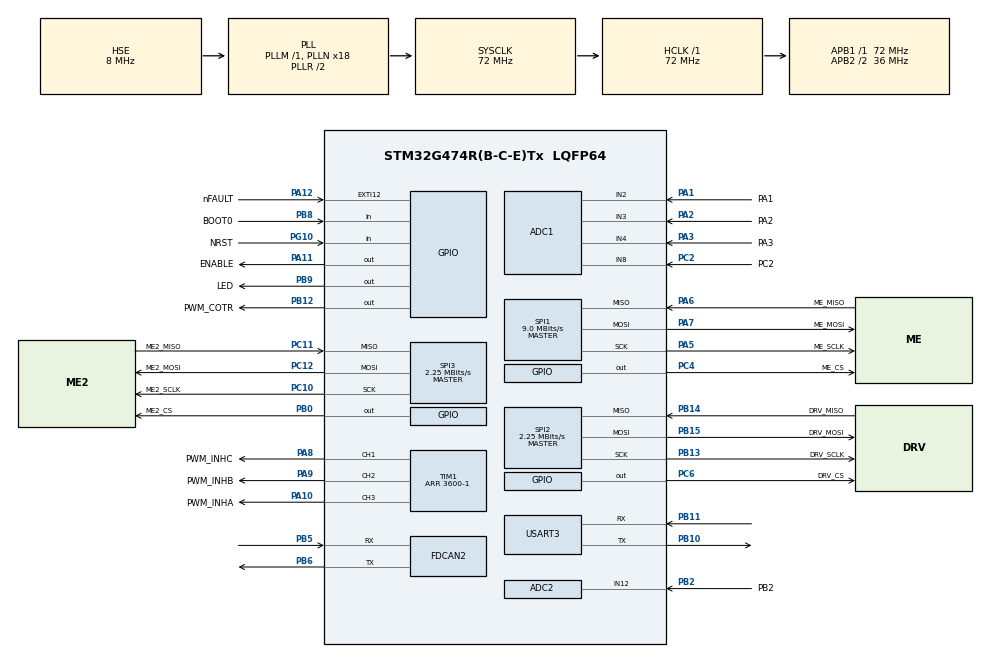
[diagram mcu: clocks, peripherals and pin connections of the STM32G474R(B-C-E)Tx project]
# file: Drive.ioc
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ADC1.Channel-11\#ChannelRegularConversion=ADC_CHANNEL_8
ADC1.Channel-12\#ChannelRegularConversion=ADC_CHANNEL_4
ADC1.Channel-7\#ChannelRegularConversion=ADC_CHANNEL_2
ADC1.Channel-8\#ChannelRegularConversion=ADC_CHANNEL_3
ADC1.ContinuousConvMode=DISABLE
ADC1.DMAContinuousRequests=ENABLE
ADC1.EnableInjectedConversion=DISABLE
ADC1.EnableRegularConversion=ENABLE
ADC1.ExternalTrigConv=ADC_EXTERNALTRIG_T1_TRGO
ADC1.Mode=ADC_MODE_INDEPENDENT
ADC1.NbrOfConversion=4
ADC1.NbrOfConversionFlag=1
ADC1.OffsetNumber-11\#ChannelRegularConversion=ADC_OFFSET_NONE
ADC1.OffsetNumber-12\#ChannelRegularConversion=ADC_OFFSET_NONE
ADC1.OffsetNumber-7\#ChannelRegularConversion=ADC_OFFSET_NONE
ADC1.OffsetNumber-8\#ChannelRegularConversion=ADC_OFFSET_NONE
ADC1.Overrun=ADC_OVR_DATA_OVERWRITTEN
ADC1.OversamplingMode=DISABLE
ADC1.Rank-11\#ChannelRegularConversion=3
ADC1.Rank-12\#ChannelRegularConversion=4
ADC1.Rank-7\#ChannelRegularConversion=1
ADC1.Rank-8\#ChannelRegularConversion=2
ADC1.SamplingTime-11\#ChannelRegularConversion=ADC_SAMPLETIME_24CYCLES_5
ADC1.SamplingTime-12\#ChannelRegularConversion=ADC_SAMPLETIME_24CYCLES_5
ADC1.SamplingTime-7\#ChannelRegularConversion=ADC_SAMPLETIME_24CYCLES_5
ADC1.SamplingTime-8\#ChannelRegularConversion=ADC_SAMPLETIME_24CYCLES_5
ADC1.master=1
ADC2.Channel-0\#ChannelRegularConversion=ADC_CHANNEL_12
ADC2.DMAContinuousRequests=ENABLE
ADC2.ExternalTrigConv=ADC_EXTERNALTRIG_T1_TRGO
ADC2.ExternalTrigConvEdge=ADC_EXTERNALTRIGCONVEDGE_RISING
ADC2.NbrOfConversion=1
ADC2.NbrOfConversionFlag=1
ADC2.OffsetNumber-0\#ChannelRegularConversion=ADC_OFFSET_NONE
ADC2.Overrun=ADC_OVR_DATA_OVERWRITTEN
ADC2.OversamplingMode=DISABLE
ADC2.Rank-0\#ChannelRegularConversion=1
ADC2.SamplingTime-0\#ChannelRegularConversion=ADC_SAMPLETIME_24CYCLES_5
Dma.ADC1.0.Direction=DMA_PERIPH_TO_MEMORY
Dma.ADC1.0.EventEnable=DISABLE
Dma.ADC1.0.Instance=DMA1_Channel1
Dma.ADC1.0.MemDataAlignment=DMA_MDATAALIGN_HALFWORD
Dma.ADC1.0.MemInc=DMA_MINC_ENABLE
Dma.ADC1.0.Mode=DMA_CIRCULAR
Dma.ADC1.0.PeriphDataAlignment=DMA_PDATAALIGN_HALFWORD
Dma.ADC1.0.PeriphInc=DMA_PINC_DISABLE
Dma.ADC1.0.Polarity=HAL_DMAMUX_REQ_GEN_RISING
Dma.ADC1.0.Priority=DMA_PRIORITY_LOW
Dma.ADC1.0.RequestNumber=1
Dma.ADC1.0.SignalID=NONE
Dma.ADC1.0.SyncEnable=DISABLE
Dma.ADC1.0.SyncPolarity=HAL_DMAMUX_SYNC_NO_EVENT
Dma.ADC1.0.SyncRequestNumber=1
Dma.ADC1.0.SyncSignalID=NONE
Dma.ADC2.1.Direction=DMA_PERIPH_TO_MEMORY
Dma.ADC2.1.EventEnable=DISABLE
Dma.ADC2.1.Instance=DMA1_Channel2
Dma.ADC2.1.MemDataAlignment=DMA_MDATAALIGN_HALFWORD
Dma.ADC2.1.MemInc=DMA_MINC_ENABLE
Dma.ADC2.1.Mode=DMA_CIRCULAR
Dma.ADC2.1.PeriphDataAlignment=DMA_PDATAALIGN_HALFWORD
Dma.ADC2.1.PeriphInc=DMA_PINC_DISABLE
Dma.ADC2.1.Polarity=HAL_DMAMUX_REQ_GEN_RISING
Dma.ADC2.1.Priority=DMA_PRIORITY_LOW
Dma.ADC2.1.RequestNumber=1
Dma.ADC2.1.SignalID=NONE
Dma.ADC2.1.SyncEnable=DISABLE
Dma.ADC2.1.SyncPolarity=HAL_DMAMUX_SYNC_NO_EVENT
Dma.ADC2.1.SyncRequestNumber=1
Dma.ADC2.1.SyncSignalID=NONE
Dma.Request0=ADC1
Dma.Request1=ADC2
Dma.Request2=USART3_TX
Dma.Request3=USART3_RX
Dma.USART3_RX.3.Direction=DMA_PERIPH_TO_MEMORY
Dma.USART3_RX.3.EventEnable=DISABLE
Dma.USART3_RX.3.Instance=DMA1_Channel4
Dma.USART3_RX.3.MemDataAlignment=DMA_MDATAALIGN_BYTE
Dma.USART3_RX.3.MemInc=DMA_MINC_ENABLE
Dma.USART3_RX.3.Mode=DMA_CIRCULAR
Dma.USART3_RX.3.PeriphDataAlignment=DMA_PDATAALIGN_BYTE
Dma.USART3_RX.3.PeriphInc=DMA_PINC_DISABLE
Dma.USART3_RX.3.Polarity=HAL_DMAMUX_REQ_GEN_RISING
Dma.USART3_RX.3.Priority=DMA_PRIORITY_LOW
Dma.USART3_RX.3.RequestNumber=1
Dma.USART3_RX.3.SignalID=NONE
Dma.USART3_RX.3.SyncEnable=DISABLE
Dma.USART3_RX.3.SyncPolarity=HAL_DMAMUX_SYNC_NO_EVENT
Dma.USART3_RX.3.SyncRequestNumber=1
Dma.USART3_RX.3.SyncSignalID=NONE
Dma.USART3_TX.2.Direction=DMA_MEMORY_TO_PERIPH
Dma.USART3_TX.2.EventEnable=DISABLE
Dma.USART3_TX.2.Instance=DMA1_Channel3
Dma.USART3_TX.2.MemDataAlignment=DMA_MDATAALIGN_BYTE
Dma.USART3_TX.2.MemInc=DMA_MINC_ENABLE
Dma.USART3_TX.2.Mode=DMA_NORMAL
Dma.USART3_TX.2.PeriphDataAlignment=DMA_PDATAALIGN_BYTE
Dma.USART3_TX.2.PeriphInc=DMA_PINC_DISABLE
Dma.USART3_TX.2.Polarity=HAL_DMAMUX_REQ_GEN_RISING
Dma.USART3_TX.2.Priority=DMA_PRIORITY_LOW
Dma.USART3_TX.2.RequestNumber=1
Dma.USART3_TX.2.SignalID=NONE
Dma.USART3_TX.2.SyncEnable=DISABLE
Dma.USART3_TX.2.SyncPolarity=HAL_DMAMUX_SYNC_NO_EVENT
Dma.USART3_TX.2.SyncRequestNumber=1
Dma.USART3_TX.2.SyncSignalID=NONE
FDCAN2.CalculateBaudRateNominal=1000000
FDCAN2.CalculateTimeBitNominal=1000
FDCAN2.CalculateTimeQuantumNominal=125.0
FDCAN2.NominalPrescaler=9
FDCAN2.NominalTimeSeg1=5
FDCAN2.NominalTimeSeg2=2
FDCAN2.StdFiltersNbr=1
IWDG.Prescaler=IWDG_PRESCALER_256
IWDG.Reload=125
IWDG.Window=4095
Mcu.Family=STM32G4
Mcu.Name=STM32G474R(B-C-E)Tx
Mcu.Package=LQFP64
NVIC.DMA1_Channel1_IRQn=true\:3\:0\:true\:false\:true\:false\:true\:true
NVIC.DMA1_Channel2_IRQn=true\:3\:0\:true\:false\:true\:false\:true\:true
NVIC.DMA1_Channel3_IRQn=true\:3\:0\:true\:false\:true\:false\:true\:true
NVIC.DMA1_Channel4_IRQn=true\:3\:0\:true\:false\:true\:false\:true\:true
NVIC.EXTI15_10_IRQn=true\:0\:0\:true\:false\:true\:true\:true\:true
NVIC.FDCAN2_IT0_IRQn=true\:3\:0\:true\:false\:true\:true\:true\:true
NVIC.FDCAN2_IT1_IRQn=true\:3\:0\:true\:false\:true\:true\:true\:true
NVIC.PriorityGroup=NVIC_PRIORITYGROUP_4
NVIC.TIM1_UP_TIM16_IRQn=true\:1\:0\:true\:false\:true\:true\:true\:true
NVIC.USART3_IRQn=true\:3\:0\:true\:false\:true\:true\:true\:true
PA1.GPIO_Label=PA1
PA1.Mode=IN2-Single-Ended
PA1.Signal=ADC1_IN2
PA10.GPIO_Label=PWM_INHA
PA10.Signal=S_TIM1_CH3
PA11.GPIO_Label=ENABLE
PA11.Signal=GPIO_Output
PA12.GPIO_Label=nFAULT
PA12.GPIO_ModeDefaultEXTI=GPIO_MODE_IT_FALLING
PA12.Signal=GPXTI12
PA13.Mode=Serial_Wire
PA13.Signal=SYS_JTMS-SWDIO
PA14.Mode=Serial_Wire
PA14.Signal=SYS_JTCK-SWCLK
PA2.GPIO_Label=PA2
PA2.Mode=IN3-Single-Ended
PA2.Signal=ADC1_IN3
PA3.GPIO_Label=PA3
PA3.Mode=IN4-Single-Ended
PA3.Signal=ADC1_IN4
PA5.GPIO_Label=ME_SCLK
PA5.GPIO_Speed=GPIO_SPEED_FREQ_VERY_HIGH
PA5.Mode=Full_Duplex_Master
PA5.Signal=SPI1_SCK
PA6.GPIO_Label=ME_MISO
PA6.GPIO_Speed=GPIO_SPEED_FREQ_VERY_HIGH
PA6.Mode=Full_Duplex_Master
PA6.Signal=SPI1_MISO
PA7.GPIO_Label=ME_MOSI
PA7.GPIO_Speed=GPIO_SPEED_FREQ_VERY_HIGH
PA7.Mode=Full_Duplex_Master
PA7.Signal=SPI1_MOSI
PA8.GPIO_Label=PWM_INHC
PA8.Signal=S_TIM1_CH1
PA9.GPIO_Label=PWM_INHB
PA9.Signal=S_TIM1_CH2
PB0.GPIO_Label=ME2_CS
PB0.GPIO_Speed=GPIO_SPEED_FREQ_VERY_HIGH
PB0.PinState=GPIO_PIN_SET
PB0.Signal=GPIO_Output
PB10.Mode=Asynchronous
PB10.Signal=USART3_TX
PB11.GPIO_PuPd=GPIO_PULLUP
PB11.Mode=Asynchronous
PB11.Signal=USART3_RX
PB12.GPIO_Label=PWM_COTR
PB12.Signal=GPIO_Output
PB13.GPIO_Label=DRV_SCLK
PB13.GPIO_Speed=GPIO_SPEED_FREQ_VERY_HIGH
PB13.Mode=Full_Duplex_Master
PB13.Signal=SPI2_SCK
PB14.GPIO_Label=DRV_MISO
PB14.GPIO_Speed=GPIO_SPEED_FREQ_VERY_HIGH
PB14.Mode=Full_Duplex_Master
PB14.Signal=SPI2_MISO
PB15.GPIO_Label=DRV_MOSI
PB15.GPIO_Speed=GPIO_SPEED_FREQ_VERY_HIGH
PB15.Mode=Full_Duplex_Master
PB15.Signal=SPI2_MOSI
PB2.GPIO_Label=PB2
PB2.Mode=IN12-Single-Ended
PB2.Signal=ADC2_IN12
PB5.GPIO_Speed=GPIO_SPEED_FREQ_HIGH
PB5.Mode=FDCAN_Activate
PB5.Signal=FDCAN2_RX
PB6.GPIO_Speed=GPIO_SPEED_FREQ_HIGH
PB6.Mode=FDCAN_Activate
PB6.Signal=FDCAN2_TX
PB8-BOOT0.GPIO_Label=BOOT0
PB8-BOOT0.Signal=GPIO_Input
PB9.GPIO_Label=LED
PB9.Signal=GPIO_Output
PC10.GPIO_Label=ME2_SCLK
PC10.Mode=Full_Duplex_Master
PC10.Signal=SPI3_SCK
PC11.GPIO_Label=ME2_MISO
PC11.Mode=Full_Duplex_Master
PC11.Signal=SPI3_MISO
PC12.GPIO_Label=ME2_MOSI
PC12.Mode=Full_Duplex_Master
PC12.Signal=SPI3_MOSI
PC2.GPIO_Label=PC2
PC2.Mode=IN8-Single-Ended
PC2.Signal=ADC1_IN8
PC4.GPIO_Label=ME_CS
PC4.GPIO_Speed=GPIO_SPEED_FREQ_VERY_HIGH
PC4.PinState=GPIO_PIN_SET
PC4.Signal=GPIO_Output
PC6.GPIO_Label=DRV_CS
PC6.GPIO_Speed=GPIO_SPEED_FREQ_VERY_HIGH
PC6.PinState=GPIO_PIN_SET
PC6.Signal=GPIO_Output
PF0-OSC_IN.Mode=HSE-External-Oscillator
PF0-OSC_IN.Signal=RCC_OSC_IN
PF1-OSC_OUT.Mode=HSE-External-Oscillator
PF1-OSC_OUT.Signal=RCC_OSC_OUT
PG10-NRST.GPIO_Label=NRST
PG10-NRST.Signal=GPIO_Input
ProjectManager.HeapSize=0x200
ProjectManager.StackSize=0x400
ProjectManager.TargetToolchain=MDK-ARM V5.32
RCC.ADC12Freq_Value=72000000
RCC.ADC345Freq_Value=72000000
RCC.AHBFreq_Value=72000000
RCC.APB1Freq_Value=72000000
RCC.APB1TimFreq_Value=72000000
RCC.APB2CLKDivider=RCC_HCLK_DIV2
RCC.APB2Freq_Value=36000000
RCC.APB2TimFreq_Value=72000000
RCC.CortexFreq_Value=72000000
RCC.EXTERNAL_CLOCK_VALUE=12288000
RCC.HCLKFreq_Value=72000000
RCC.HSE_VALUE=8000000
RCC.HSI48_VALUE=48000000
RCC.HSI_VALUE=16000000
RCC.LSE_VALUE=32768
RCC.PLLN=18
RCC.PLLSourceVirtual=RCC_PLLSOURCE_HSE
RCC.SYSCLKFreq_VALUE=72000000
RCC.SYSCLKSource=RCC_SYSCLKSOURCE_PLLCLK
RCC.USBFreq_Value=72000000
RCC.VCOOutputFreq_Value=144000000
SH.S_TIM1_CH1.0=TIM1_CH1,PWM Generation1 CH1
SH.S_TIM1_CH2.0=TIM1_CH2,PWM Generation2 CH2
SH.S_TIM1_CH3.0=TIM1_CH3,PWM Generation3 CH3
SPI1.BaudRatePrescaler=SPI_BAUDRATEPRESCALER_4
SPI1.CLKPhase=SPI_PHASE_2EDGE
SPI1.CLKPolarity=SPI_POLARITY_HIGH
SPI1.CalculateBaudRate=9.0 MBits/s
SPI1.DataSize=SPI_DATASIZE_16BIT
SPI1.Direction=SPI_DIRECTION_2LINES
SPI1.Mode=SPI_MODE_MASTER
SPI1.VirtualType=VM_MASTER
SPI2.BaudRatePrescaler=SPI_BAUDRATEPRESCALER_32
SPI2.CLKPhase=SPI_PHASE_2EDGE
SPI2.CLKPolarity=SPI_POLARITY_LOW
SPI2.CalculateBaudRate=2.25 MBits/s
SPI2.DataSize=SPI_DATASIZE_16BIT
SPI2.Direction=SPI_DIRECTION_2LINES
SPI2.Mode=SPI_MODE_MASTER
SPI2.VirtualType=VM_MASTER
SPI3.BaudRatePrescaler=SPI_BAUDRATEPRESCALER_32
SPI3.CLKPhase=SPI_PHASE_2EDGE
SPI3.CLKPolarity=SPI_POLARITY_HIGH
SPI3.CalculateBaudRate=2.25 MBits/s
SPI3.DataSize=SPI_DATASIZE_16BIT
SPI3.Direction=SPI_DIRECTION_2LINES
SPI3.Mode=SPI_MODE_MASTER
SPI3.VirtualType=VM_MASTER
STMicroelectronics.X-CUBE-ALGOBUILD.1.4.0.LibraryCcDSPOoLibraryJjDSPOoLibrary=true
TIM1.Channel-PWM\ Generation1\ CH1=TIM_CHANNEL_1
TIM1.Channel-PWM\ Generation2\ CH2=TIM_CHANNEL_2
TIM1.Channel-PWM\ Generation3\ CH3=TIM_CHANNEL_3
TIM1.CounterMode=TIM_COUNTERMODE_CENTERALIGNED1
TIM1.PeriodNoDither=3600-1
TIM1.PulseNoDither_1=1800
TIM1.PulseNoDither_2=1800
TIM1.PulseNoDither_3=1800
TIM1.RepetitionCounter=0
TIM1.TIM_MasterOutputTrigger=TIM_TRGO_UPDATE
USART3.VirtualMode-Asynchronous=VM_ASYNC
VP_IWDG_VS_IWDG.Mode=IWDG_Activate
VP_STMicroelectronics.X-CUBE-ALGOBUILD_VS_DSPOoLibraryJjLibrary_1.4.0_1.4.0.Mode=DSPOoLibraryJjLibrary
VP_SYS_VS_DBSignals.Mode=DisableDeadBatterySignals
VP_TIM1_VS_ClockSourceINT.Mode=Internal
board=custom

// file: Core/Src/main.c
/* USER CODE BEGIN Header */
/**
  ******************************************************************************
  * @file           : main.c
  * @brief          : Main program body
  ******************************************************************************
  * @attention
  *
  * Copyright (c) 2026 STMicroelectronics.
  * All rights reserved.
  *
  * This software is licensed under terms that can be found in the LICENSE file
  * in the root directory of this software component.
  * If no LICENSE file comes with this software, it is provided AS-IS.
  *
  ******************************************************************************
  */
/* USER CODE END Header */
#include "main.h"
#include "adc.h"
#include "dma.h"
#include "fdcan.h"
#include "iwdg.h"
#include "spi.h"
#include "tim.h"
#include "usart.h"
#include "gpio.h"

/* USER CODE BEGIN Includes */
#include "motor_control.h"
#include "foc.h"
#include "DRV8353.h"
#include "fdcan_app.h"
#include "uart_cmd.h"
#include "dwt_delay.h"
#include "kth7823.h"
#include "kth7823_2.h"
#include "dbg_monitor.h"
#include "Protect.h"

/* USER CODE END Includes */

/* USER CODE BEGIN PD */
// 注：上电自动执行启动序列已迁移至 motor_control.c（MotorControl_BootSequence）

float manual_voltage = 0.0f;	// 手动给定电压 (V)，默认 0，上电不转（安全）
float manual_speed = 0.0f;	  // 手动给定速度 (rad/s)，默认 0

volatile uint8_t fault_triggered = 0;	// 驱动故障标志
volatile uint8_t  fault_code = FAULT_CODE_NONE;  // 故障诊断码（锁存），主循环上报后清零
volatile uint16_t fault_mask = 0;                // 本次故障事件内触发过的所有保护位（bit=FAULT_CODE_n），与 fault_code 同步清零
volatile uint16_t fault_status1 = 0;             // 硬件故障 STATUS1 锁存（Disable 前读取）
volatile uint16_t fault_status2 = 0;             // 硬件故障 STATUS2 锁存

/* USER CODE END PD */

void SystemClock_Config(void);
/* USER CODE BEGIN PFP */
void HAL_TIM_PeriodElapsedCallback(TIM_HandleTypeDef *htim);

// 驱动故障回调函数
void HAL_GPIO_EXTI_Callback(uint16_t GPIO_Pin)
{
    if (GPIO_Pin == GPIO_PIN_12){
			// 先锁存硬件故障详情（此时 EN 尚未拉低、SPI 可用，读到的才是真实故障位）
			fault_status1 = DRV8353_ReadReg(DRV8353_REG_STATUS1);
			fault_status2 = DRV8353_ReadReg(DRV8353_REG_STATUS2);
			fault_code = FAULT_CODE_HARDWARE;
			// 立即停止 PWM 输出
			DRV8353_Disable();
      Protect_StopPWM();
			fault_triggered = 1;
		}
}

/* USER CODE END PFP */

/* USER CODE BEGIN 0 */

/* 上电自动执行启动序列已迁移至 motor_control.c（MotorControl_BootSequence） */

/* USER CODE END 0 */

int main(void)
{

  /* MCU Configuration--------------------------------------------------------*/

  /* Reset of all peripherals, Initializes the Flash interface and the Systick. */
  HAL_Init();

  /* Configure the system clock */
  SystemClock_Config();

  /* USER CODE BEGIN SysInit */
  DWT_Init();   // 使能内核 DWT  Cycle 计数器，供 DWT_Delay us/ms 使用

  /* USER CODE END SysInit */

  /* Initialize all configured peripherals */
  MX_GPIO_Init();
  MX_DMA_Init();
  MX_TIM1_Init();
  MX_ADC1_Init();
  MX_FDCAN2_Init();
  MX_SPI1_Init();
  MX_SPI2_Init();
  MX_SPI3_Init();
  MX_USART3_UART_Init();
  MX_ADC2_Init();
  MX_IWDG_Init();
  /* USER CODE BEGIN 2 */
	FDCAN_App_Init();
	UART_Cmd_Init();
	MotorControl_Init();
	MotorControl_BootSequence();   // 上电自动执行启动序列
  /* USER CODE END 2 */

  /* Infinite loop */
  /* USER CODE BEGIN WHILE */
	FOC_SetOpenLoopVoltage(0.0f);  // 开环初始电压 0V（速度默认 0，上电不转）

  while (1)
  {

    /* USER CODE END WHILE */

    /* USER CODE BEGIN 3 */

		// 故障恢复：20kHz 中断只推到 FOC_RECOVER_REQ，本函数执行阻塞式 DRV8353_Recover()
		FOC_FaultRecoverProcess();

		// 调试监控快照：集中刷新关键运行变量到 dbg，供 KEIL Watch 观察
//		DBG_Monitor_Update();

		// [TEST] 故障/状态自动串口上报（删除本模块时一并删除本行）
//		UartLog_Poll();

		// 故障监测：仅做诊断上报，真正的退避/恢复由 FOC_Update 顶部的FOC_STATE_FAULT 状态机接管
    // （fault_triggered 在此不清除，留给 FOC 消费）
		if (fault_code != FAULT_CODE_NONE) {
      // 硬件故障：上报 Disable 前锁存的 STATUS1/2；软件故障：上报软件码
      uint16_t status1 = fault_status1;
      uint16_t status2 = fault_status2;
      if (fault_code == FAULT_CODE_STALL) {
          UART_SendString("FAULT: STALL\r\n");// 软件堵转/过流
      } else if (fault_code == FAULT_CODE_ENCODER_STALL) {
          UART_SendString("FAULT: ENCODER_STALL\r\n");// 编码器失速/断线
      } else if (fault_code == FAULT_CODE_OVERTEMP) {
          UART_SendString("FAULT: OVERTEMP\r\n");// MOSFET/线圈过温关断
      } else if (fault_code == FAULT_CODE_OVERVOLT) {
          UART_SendString("FAULT: OVERVOLT\r\n");// 母线过压（回馈泵升）
      } else if (fault_code == FAULT_CODE_UNDERVOLT) {
          UART_SendString("FAULT: UNDERVOLT\r\n");// 母线欠压
      } else if (fault_code == FAULT_CODE_OVERSPEED) {
          UART_SendString("FAULT: OVERSPEED\r\n");// 机械超速
      } else if (fault_code == FAULT_CODE_PHASE_OC) {
          UART_SendString("FAULT: PHASE_OC\r\n");// 单相瞬时峰值过流
      } else if (fault_code == FAULT_CODE_I2T) {
          UART_SendString("FAULT: I2T\r\n");// I²t 热积累过流
      } else if (fault_code == FAULT_CODE_POS_ERROR) {
          UART_SendString("FAULT: POS_ERROR\r\n");// 位置跟随误差
      } else if (fault_code == FAULT_CODE_SOFT_LIMIT) {
          UART_SendString("FAULT: SOFT_LIMIT\r\n");// 软限位持续被撞
      } else if (fault_code == FAULT_CODE_COMM_TIMEOUT) {
          UART_SendString("FAULT: COMM_TIMEOUT\r\n");// 上位机通讯失联（CAN 心跳超时）
      } else {
      if (status1 & 0x0400) UART_SendString("FAULT: FAULT\r\n");// 故障状态，对应nFault
      if (status1 & 0x0200) UART_SendString("FAULT: VDS_OCP\r\n");// VDS监视器过流
      if (status1 & 0x0100) UART_SendString("FAULT: GDF\r\n");// 栅极驱动故障
      if (status1 & 0x0080) UART_SendString("FAULT: UVLO\r\n");// 欠压锁定
      if (status1 & 0x0040) UART_SendString("FAULT: OTSD\r\n");// 过温关断
      if (status1 & 0x0020) UART_SendString("FAULT: VDS_HA\r\n");// A 相高侧VDS过流
      if (status1 & 0x0010) UART_SendString("FAULT: VDS_LA\r\n");// A 相低侧VDS过流
      if (status1 & 0x0008) UART_SendString("FAULT: VDS_HB\r\n");// B 相高侧VDS过流
      if (status1 & 0x0004) UART_SendString("FAULT: VDS_LB\r\n");// B 相低侧VDS过流
      if (status1 & 0x0002) UART_SendString("FAULT: VDS_HC\r\n");// C 相高侧VDS过流
      if (status1 & 0x0001) UART_SendString("FAULT: VDS_LC\r\n");// C 相低侧VDS过流

      // STATUS2：逐相/子系统细分诊断（只读）
      if (status2 & 0x0400) UART_SendString("FAULT: SA_OC\r\n");// A 相电流采样放大器（CSA）过流
      if (status2 & 0x0200) UART_SendString("FAULT: SB_OC\r\n");// B 相 CSA 过流
      if (status2 & 0x0100) UART_SendString("FAULT: SC_OC\r\n");// C 相 CSA 过流
      if (status2 & 0x0080) UART_SendString("FAULT: OTW\r\n");// 过温警告
      if (status2 & 0x0040) UART_SendString("FAULT: GDUV\r\n");// 电荷泵 VCP / VGLS 欠压故障
      if (status2 & 0x0020) UART_SendString("FAULT: VGS_HA\r\n");// A 相高侧 MOSFET 栅源（VGS）驱动故障
      if (status2 & 0x0010) UART_SendString("FAULT: VGS_LA\r\n");// A 相低侧 MOSFET VGS 驱动故障
      if (status2 & 0x0008) UART_SendString("FAULT: VGS_HB\r\n");// B 相高侧 MOSFET VGS 驱动故障
      if (status2 & 0x0004) UART_SendString("FAULT: VGS_LB\r\n");// B 相低侧 MOSFET VGS 驱动故障
      if (status2 & 0x0002) UART_SendString("FAULT: VGS_HC\r\n");// C 相高侧 MOSFET VGS 驱动故障
      if (status2 & 0x0001) UART_SendString("FAULT: VGS_LC\r\n");// C 相低侧 MOSFET VGS 驱动故障
      }
      UART_PrintFaultMask(fault_mask, fault_code);

      fault_code = FAULT_CODE_NONE;   // 上报完成后清除锁存
      fault_mask = 0;                 // 掩码与故障码同步清零
		}

		// 处理串口命令
    UART_Cmd_Process();

		// 自动实时上报状态
//		UART_SendStatus();

		// 对齐结果上报
		UART_ReportAlignResult();

		// 非阻塞发送兜底：发送链路异常（HAL 启动失败/出错）时恢复，正常无开销
		UART_Tx_Poll();

		// 自动停止：v= 设为非0 后 3 秒自动把电压归零（测试保护，防忘记停机过热）
		UART_Cmd_AutoStop();

		// 处理 CAN 消息（多节点：只处理发给本节点 NODE_ID 的帧，过滤器已按 ID 区分）
    FDCAN_App_Process();

		// 编码器刷新：主循环读角度 + 测速，20kHz 控制中断读到的最旧角度约 1ms
		KTH7823_UpdateAngle();   // SPI 单帧流水线读角度 -> 异常读数统计 -> 解包裹/野值剔除 -> 滤波 -> 多圈角
		KTH7823_UpdateSpeed();   // DWT 差分测速（一阶低通）
		DWT_DelayMs(1);          // 定 1ms 节拍

		// 喂独立看门狗：主循环 1ms 周期喂狗，远小于 1s 超时
		HAL_IWDG_Refresh(&hiwdg);

	}

  /* USER CODE END 3 */
}

void SystemClock_Config(void)
{
  RCC_OscInitTypeDef RCC_OscInitStruct = {0};
  RCC_ClkInitTypeDef RCC_ClkInitStruct = {0};

  /** Configure the main internal regulator output voltage
  */
  HAL_PWREx_ControlVoltageScaling(PWR_REGULATOR_VOLTAGE_SCALE1);

  /** Initializes the RCC Oscillators according to the specified parameters
  * in the RCC_OscInitTypeDef structure.
  */
  RCC_OscInitStruct.OscillatorType = RCC_OSCILLATORTYPE_LSI|RCC_OSCILLATORTYPE_HSE;
  RCC_OscInitStruct.HSEState = RCC_HSE_ON;
  RCC_OscInitStruct.LSIState = RCC_LSI_ON;
  RCC_OscInitStruct.PLL.PLLState = RCC_PLL_ON;
  RCC_OscInitStruct.PLL.PLLSource = RCC_PLLSOURCE_HSE;
  RCC_OscInitStruct.PLL.PLLM = RCC_PLLM_DIV1;
  RCC_OscInitStruct.PLL.PLLN = 18;
  RCC_OscInitStruct.PLL.PLLP = RCC_PLLP_DIV2;
  RCC_OscInitStruct.PLL.PLLQ = RCC_PLLQ_DIV2;
  RCC_OscInitStruct.PLL.PLLR = RCC_PLLR_DIV2;
  if (HAL_RCC_OscConfig(&RCC_OscInitStruct) != HAL_OK)
  {
    Error_Handler();
  }

  /** Initializes the CPU, AHB and APB buses clocks
  */
  RCC_ClkInitStruct.ClockType = RCC_CLOCKTYPE_HCLK|RCC_CLOCKTYPE_SYSCLK
                              |RCC_CLOCKTYPE_PCLK1|RCC_CLOCKTYPE_PCLK2;
  RCC_ClkInitStruct.SYSCLKSource = RCC_SYSCLKSOURCE_PLLCLK;
  RCC_ClkInitStruct.AHBCLKDivider = RCC_SYSCLK_DIV1;
  RCC_ClkInitStruct.APB1CLKDivider = RCC_HCLK_DIV1;
  RCC_ClkInitStruct.APB2CLKDivider = RCC_HCLK_DIV2;

  if (HAL_RCC_ClockConfig(&RCC_ClkInitStruct, FLASH_LATENCY_2) != HAL_OK)
  {
    Error_Handler();
  }
}

void Error_Handler(void)
{
  __disable_irq();
  while (1)
  {
  }
}
